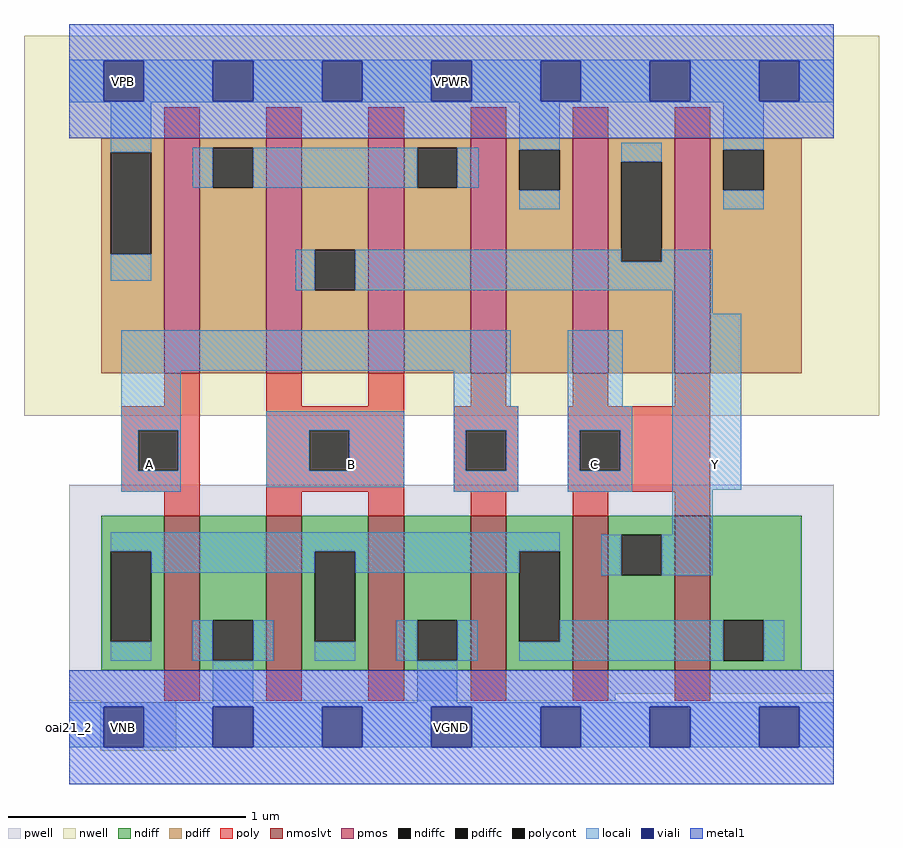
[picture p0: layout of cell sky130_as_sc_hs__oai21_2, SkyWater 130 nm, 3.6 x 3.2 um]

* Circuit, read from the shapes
.subckt sky130_as_sc_hs__oai21_2 VNB VPB VPWR VGND A B C Y
XM1 VGND A n1 VNB sky130_fd_pr__nfet_01v8_lvt w=0.65 l=0.15 m=2
XM2 n1 B VGND VNB sky130_fd_pr__nfet_01v8_lvt w=0.65 l=0.15 m=2
XM3 Y C n1 VNB sky130_fd_pr__nfet_01v8_lvt w=0.65 l=0.15 m=2
XM4 n2 A VPWR VPB sky130_fd_pr__pfet_01v8 w=0.99 l=0.15 m=2
XM5 Y B n2 VPB sky130_fd_pr__pfet_01v8 w=0.99 l=0.15 m=2
XM6 Y C VPWR VPB sky130_fd_pr__pfet_01v8 w=0.99 l=0.15 m=2
.ends

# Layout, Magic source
magic
tech sky130A
magscale 1 2
<< nwell >>
rect -38 262 682 582
<< pwell >>
rect 0 28 644 204
rect 0 22 460 28
rect 26 -20 90 22
<< pmos >>
rect 80 298 110 496
rect 166 298 196 496
rect 252 298 282 496
rect 338 298 368 496
rect 424 298 454 496
rect 510 298 540 496
<< nmoslvt >>
rect 80 48 110 178
rect 166 48 196 178
rect 252 48 282 178
rect 338 48 368 178
rect 424 48 454 178
rect 510 48 540 178
<< ndiff >>
rect 27 148 80 178
rect 27 72 35 148
rect 69 72 80 148
rect 27 48 80 72
rect 110 90 166 178
rect 110 56 121 90
rect 155 56 166 90
rect 110 48 166 56
rect 196 148 252 178
rect 196 72 207 148
rect 241 72 252 148
rect 196 48 252 72
rect 282 90 338 178
rect 282 56 293 90
rect 327 56 338 90
rect 282 48 338 56
rect 368 148 424 178
rect 368 72 379 148
rect 413 72 424 148
rect 368 48 424 72
rect 454 162 510 178
rect 454 128 465 162
rect 499 128 510 162
rect 454 48 510 128
rect 540 90 617 178
rect 540 56 551 90
rect 585 56 617 90
rect 540 48 617 56
<< pdiff >>
rect 27 484 80 496
rect 27 398 35 484
rect 69 398 80 484
rect 27 298 80 398
rect 110 488 166 496
rect 110 454 121 488
rect 155 454 166 488
rect 110 298 166 454
rect 196 402 252 496
rect 196 368 207 402
rect 241 368 252 402
rect 196 298 252 368
rect 282 488 338 496
rect 282 454 293 488
rect 327 454 338 488
rect 282 298 338 454
rect 368 486 424 496
rect 368 452 379 486
rect 413 452 424 486
rect 368 298 424 452
rect 454 476 510 496
rect 454 392 465 476
rect 499 392 510 476
rect 454 298 510 392
rect 540 486 617 496
rect 540 452 551 486
rect 585 452 617 486
rect 540 298 617 452
<< ndiffc >>
rect 35 72 69 148
rect 121 56 155 90
rect 207 72 241 148
rect 293 56 327 90
rect 379 72 413 148
rect 465 128 499 162
rect 551 56 585 90
<< pdiffc >>
rect 35 398 69 484
rect 121 454 155 488
rect 207 368 241 402
rect 293 454 327 488
rect 379 452 413 486
rect 465 392 499 476
rect 551 452 585 486
<< poly >>
rect 80 496 110 522
rect 166 496 196 522
rect 252 496 282 522
rect 338 496 368 522
rect 424 496 454 522
rect 510 496 540 522
rect 80 270 110 298
rect 44 250 110 270
rect 44 216 58 250
rect 92 216 110 250
rect 44 198 110 216
rect 80 178 110 198
rect 166 270 196 298
rect 252 270 282 298
rect 338 270 368 298
rect 424 270 454 298
rect 510 270 540 298
rect 166 250 282 270
rect 166 216 202 250
rect 236 216 282 250
rect 166 198 282 216
rect 324 250 378 270
rect 324 216 334 250
rect 368 216 378 250
rect 324 198 378 216
rect 420 250 540 270
rect 420 216 430 250
rect 464 216 540 250
rect 420 198 540 216
rect 166 178 196 198
rect 252 178 282 198
rect 338 178 368 198
rect 424 178 454 198
rect 510 178 540 198
rect 80 22 110 48
rect 166 22 196 48
rect 252 22 282 48
rect 338 22 368 48
rect 424 22 454 48
rect 510 22 540 48
<< polycont >>
rect 58 216 92 250
rect 202 216 236 250
rect 334 216 368 250
rect 430 216 464 250
<< locali >>
rect 0 561 644 562
rect 0 527 29 561
rect 63 527 121 561
rect 155 527 213 561
rect 247 527 305 561
rect 339 527 397 561
rect 431 527 489 561
rect 523 527 581 561
rect 615 527 644 561
rect 0 526 644 527
rect 35 484 69 526
rect 104 454 121 488
rect 155 454 293 488
rect 327 454 345 488
rect 379 486 413 526
rect 379 436 413 452
rect 465 476 499 492
rect 35 376 69 398
rect 191 368 207 402
rect 241 392 465 402
rect 551 486 585 526
rect 551 436 585 452
rect 499 392 542 402
rect 241 368 542 392
rect 508 348 542 368
rect 44 300 372 334
rect 44 250 94 300
rect 324 270 372 300
rect 420 270 466 334
rect 44 216 58 250
rect 92 216 94 250
rect 44 198 94 216
rect 166 250 282 266
rect 166 216 202 250
rect 236 216 282 250
rect 166 202 282 216
rect 324 250 378 270
rect 324 216 334 250
rect 368 216 378 250
rect 324 198 378 216
rect 420 250 474 270
rect 420 216 430 250
rect 464 216 474 250
rect 420 198 474 216
rect 508 200 566 348
rect 35 148 413 164
rect 508 162 542 200
rect 69 130 207 148
rect 35 56 69 72
rect 104 56 121 90
rect 155 56 172 90
rect 241 130 379 148
rect 207 56 241 72
rect 276 56 293 90
rect 327 56 344 90
rect 448 128 465 162
rect 499 128 542 162
rect 413 72 551 90
rect 379 56 551 72
rect 585 56 602 90
rect 121 21 155 56
rect 293 21 327 56
rect 0 17 644 21
rect 0 -17 29 17
rect 63 -17 121 17
rect 155 -17 213 17
rect 247 -17 305 17
rect 339 -17 397 17
rect 431 -17 489 17
rect 523 -17 581 17
rect 615 -17 644 17
<< viali >>
rect 29 527 63 561
rect 121 527 155 561
rect 213 527 247 561
rect 305 527 339 561
rect 397 527 431 561
rect 489 527 523 561
rect 581 527 615 561
rect 29 -17 63 17
rect 121 -17 155 17
rect 213 -17 247 17
rect 305 -17 339 17
rect 397 -17 431 17
rect 489 -17 523 17
rect 581 -17 615 17
<< metal1 >>
rect 0 561 644 592
rect 0 527 29 561
rect 63 527 121 561
rect 155 527 213 561
rect 247 527 305 561
rect 339 527 397 561
rect 431 527 489 561
rect 523 527 581 561
rect 615 527 644 561
rect 0 496 644 527
rect 0 17 644 48
rect 0 -17 29 17
rect 63 -17 121 17
rect 155 -17 213 17
rect 247 -17 305 17
rect 339 -17 397 17
rect 431 -17 489 17
rect 523 -17 581 17
rect 615 -17 644 17
rect 0 -48 644 -17
<< labels >>
rlabel comment s 0 0 0 0 4 oai21_2
flabel pwell s 29 -17 63 17 0 FreeSans 200 0 0 0 VNB
port 1 nsew ground bidirectional
flabel pwell s 46 0 46 0 0 FreeSans 200 0 0 0 VNB
flabel nwell s 29 527 63 561 0 FreeSans 200 0 0 0 VPB
port 2 nsew power bidirectional
flabel nwell s 46 544 46 544 0 FreeSans 200 0 0 0 VPB
flabel metal1 s 29 527 63 561 0 FreeSans 200 0 0 0 VPWR
port 3 nsew power bidirectional abutment
flabel metal1 s 29 -17 63 17 0 FreeSans 200 0 0 0 VGND
port 4 nsew ground bidirectional abutment
rlabel metal1 s 0 -48 644 48 1 VGND
port 4 nsew ground bidirectional abutment
rlabel metal1 s 0 496 644 592 1 VPWR
port 3 nsew power bidirectional abutment
flabel locali s 51 204 85 238 0 FreeSans 200 0 0 0 A
port 5 nsew signal input
flabel locali s 68 221 68 221 0 FreeSans 200 0 0 0 A
flabel locali s 221 204 255 238 0 FreeSans 200 0 0 0 B
port 6 nsew signal input
flabel locali s 238 221 238 221 0 FreeSans 200 0 0 0 B
flabel locali s 425 204 459 238 0 FreeSans 200 0 0 0 C
port 7 nsew signal input
flabel locali s 442 221 442 221 0 FreeSans 200 0 0 0 C
flabel locali s 527 204 561 238 0 FreeSans 200 0 0 0 Y
port 8 nsew signal output
flabel locali s 544 221 544 221 0 FreeSans 200 0 0 0 Y
<< properties >>
string FIXED_BBOX 0 0 644 544
string GDS_FILE $PDKPATH/libs.ref/sky130_as_sc_hs/gds/sky130_as_sc_hs__oai21_2.gds
string LEFclass CORE
string LEFsite unithd
string LEFsymmetry X Y R90
string MASKHINTS_LVTN 0 -4 644 220
string MASKHINTS_NSDM 0 -38 644 209
string MASKHINTS_PSDM 0 273 644 582
<< end >>
